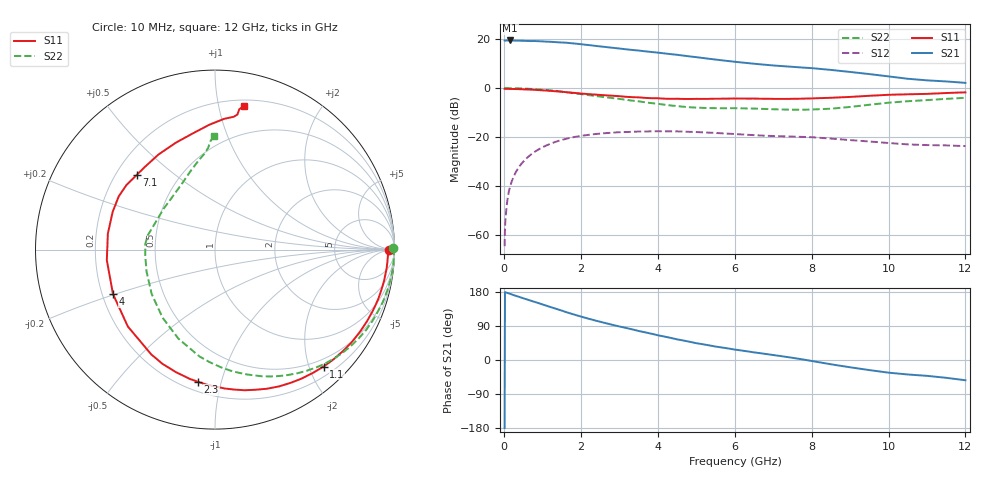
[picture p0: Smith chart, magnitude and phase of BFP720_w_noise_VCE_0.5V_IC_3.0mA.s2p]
! Infineon Technologies  Discrete & RF Semiconductors
! BFP720
! VCE =  0.5 V,  IC =  3.0 mA
! Common Emitter S-Parameters:  Aug 2012
# GHz  S  MA  R  50
!  f  S11  S21  S12  S22
! GHz  MAG  ANG  MAG  ANG  MAG  ANG  MAG  ANG
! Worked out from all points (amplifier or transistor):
!   105 points, 10 MHz to 12 GHz, reference 50 ohm
!   highest |S21| = 19.4 dB at 150 MHz (marker M1)
!   |S21| within 3 dB of that: start of sweep to 2.828 GHz
!   unconditionally stable (mu >= 1): start of sweep to 10.2 MHz; 7.73 GHz to end of sweep
!   at 300 MHz: K = 0.03, MSG = 26.8 dB, |S12| = -34.3 dB
!   at 3.6 GHz: K = 0.37, MSG = 16.4 dB, |S12| = -17.7 dB
!   at 12 GHz: K = 1.11, MAG = 10.9 dB, |S12| = -23.6 dB
!   lowest NFmin = 0.36 dB at 450 MHz
!   S11 on the Smith chart (normalised r, x): 10 MHz: 60, +0; 1.1 GHz: 0.36, -2.25; 2.3 GHz: 0.26, -0.85; 4 GHz: 0.24, -0.20; 7.1 GHz: 0.29, +0.37; 12 GHz: 0.25, +1.19
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0.01  0.9672 0.0  9.301 -179.6  0.0006 -18.8  0.9893 0.4
0.02  0.9641 -0.8  9.196 179.1  0.0014 82.8  0.9977 -0.6
0.04  0.9639 -1.7  9.29 178.4  0.0025 90.3  0.997 -1.4
0.15  0.9619 -6.3  9.348 174.7  0.0097 86.1  0.9964 -5.2
0.4  0.9504 -16.7  9.254 166.2  0.0256 78.9  0.9852 -13.9
0.8  0.9204 -33.9  9.099 153.1  0.0506 67.5  0.9534 -28.1
1.1  0.8892 -47.1  8.856 143.2  0.068 58.7  0.9141 -39.0
1.6  0.8275 -69.5  8.434 126.8  0.0921 44.4  0.8274 -56.4
2.1  0.7629 -89.8  7.673 111.7  0.1089 31.4  0.7345 -72.6
2.3  0.7425 -97.3  7.361 106.2  0.1139 26.6  0.7011 -78.6
3  0.6836 -121.3  6.401 88.4  0.1261 12.2  0.6025 -98.1
3.5  0.6476 -138.5  5.822 76.5  0.1304 2.9  0.537 -112.2
4  0.6201 -156.4  5.282 65.2  0.132 -5.6  0.4787 -127.7
4.1  0.6124 -159.9  5.166 63.2  0.1316 -7.2  0.4659 -130.8
4.5  0.6056 -174.5  4.77 54.4  0.1311 -13.7  0.4306 -145.0
5  0.6035 171.5  4.267 44.3  0.1272 -21.0  0.4006 -162.1
6.1  0.6117 149.6  3.375 26.1  0.1145 -33.2  0.3878 173.8
7.1  0.6027 136.1  2.854 11.7  0.1047 -40.2  0.3686 159.9
8.5  0.6344 110.1  2.346 -11.3  0.0935 -52.0  0.38 127.7
9.5  0.6964 92.6  1.93 -26.6  0.0816 -56.8  0.4573 107.4
10.5  0.7473 82.0  1.549 -38.2  0.0712 -58.5  0.5399 96.0
12  0.8188 78.5  1.278 -53.4  0.0657 -59.7  0.6336 90.5
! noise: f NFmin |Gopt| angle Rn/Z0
0.45  0.36  0.64  5  0.2
1.8  0.5  0.57  28  0.16
2.4  0.56  0.45  71  0.19
5.5  0.77  0.32  80  0.12
10  1.12  0.43  -102  0.21
